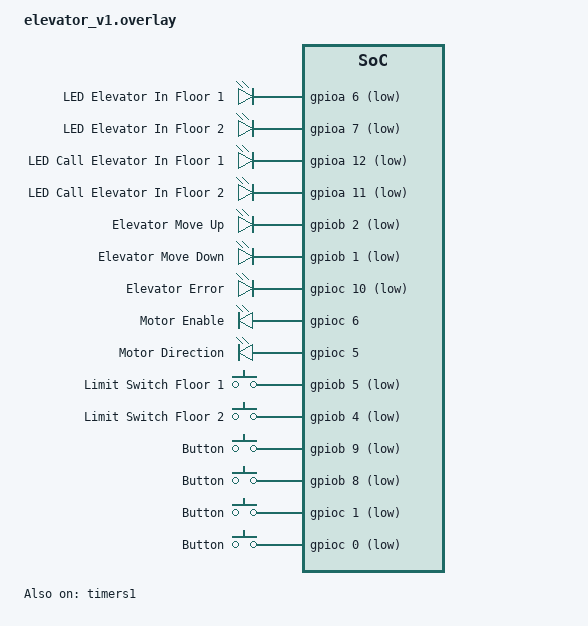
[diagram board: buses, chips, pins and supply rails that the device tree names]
/*
 * Copyright (c) 2024 HES-SO Valais, ECS, Sion
 *
 * SPDX-License-Identifier: Apache-2.0
 */

 #include <zephyr/dt-bindings/sensor/qdec_stm32.h>

/ {
    leds {
        compatible = "gpio-leds";

        led_elevator_in_floor_1: elevator_in_floor_1 {
            gpios = <&gpioa 6 GPIO_ACTIVE_LOW>;
            label = "LED Elevator In Floor 1";
        };

        led_elevator_in_floor_2: elevator_in_floor_2 {
            gpios = <&gpioa 7 GPIO_ACTIVE_LOW>;
            label = "LED Elevator In Floor 2";
        };
        
        led_call_elevator_in_floor_1: call_elevator_in_floor_1 {
            gpios = <&gpioa 12 GPIO_ACTIVE_LOW>;
            label = "LED Call Elevator In Floor 1";
        };

        led_call_elevator_in_floor_2: call_elevator_in_floor_2 {
            gpios = <&gpioa 11 GPIO_ACTIVE_LOW>;
            label = "LED Call Elevator In Floor 2";
        };

        led_elevator_move_up: elevator_move_up {
            gpios = <&gpiob 2 GPIO_ACTIVE_LOW>;
            label = "Elevator Move Up";
        };

        led_elevator_move_down: elevator_move_down {
            gpios = <&gpiob 1 GPIO_ACTIVE_LOW>;
            label = "Elevator Move Down";
        };

        led_elevator_error: elevator_error {
            gpios = <&gpioc 10 GPIO_ACTIVE_LOW>;
            label = "Elevator Error";
        };

        motor_enable: motor_enable {
            gpios = <&gpioc 6 GPIO_ACTIVE_HIGH>;
            label = "Motor Enable";
        };

        motor_direction: motor_direction {
            gpios = <&gpioc 5 GPIO_ACTIVE_HIGH>;
            label = "Motor Direction";
        };
    };

    buttons {
        compatible = "gpio-keys";

        limit_switch_floor_1: limit_switch_floor_1 {
            gpios = <&gpiob 5 GPIO_ACTIVE_LOW>;
            label = "Limit Switch Floor 1";
        };
        
        limit_switch_floor_2: limit_switch_floor_2 {
            gpios = <&gpiob 4 GPIO_ACTIVE_LOW>;
            label = "Limit Switch Floor 2";
        };

        button_call_on_floor_1: button_call_on_floor_1 {
            gpios = <&gpiob 9 GPIO_ACTIVE_LOW>;
            label = "Button";
        };

        button_call_on_floor_2: button_call_on_floor_2 {
            gpios = <&gpiob 8 GPIO_ACTIVE_LOW>;
            label = "Button";
        };

        button_elevator_up: button_elevator_up {
            gpios = <&gpioc 1 GPIO_ACTIVE_LOW>;
            label = "Button";
        };

        button_elevator_down: button_elevator_down {
            gpios = <&gpioc 0 GPIO_ACTIVE_LOW>;
            label = "Button";
        };
    };

    aliases {
        qdec0 = &qdec;
        decoder = &qdec;

        led-in-floor-1 = &led_elevator_in_floor_1;
        led-in-floor-2 = &led_elevator_in_floor_2;
        led-call-elevator-floor-1 = &led_call_elevator_in_floor_1;
        led-call-elevator-floor-2 = &led_call_elevator_in_floor_2;
        led-elevator-move-up = &led_elevator_move_up;
        led-elevator-move-down = &led_elevator_move_down;
        led-elevator-error = &led_elevator_error;
        
        motor-enable = &motor_enable;
        motor-direction = &motor_direction;

        limit-switch-floor-1 = &limit_switch_floor_1;
        limit-switch-floor-2 = &limit_switch_floor_2;
        button-call-on-floor-1 = &button_call_on_floor_1;
        button-call-on-floor-2 = &button_call_on_floor_2;
        button-elevator-up = &button_elevator_up;
        button-elevator-down = &button_elevator_down;
    };
};

&timers1 {
    status = "okay";

    qdec: qdec {
        compatible = "st,stm32-qdec";
        status = "okay";
        pinctrl-0 = <&tim1_ch1_pa8 &tim1_ch2_pa9>;
        pinctrl-names = "default";
        st,input-polarity-inverted;
        st,input-filter-level = <FDIV32_N8>;
        st,counts-per-revolution = <4172>;    /* 14 * 298 = 4172 */
    };
};
